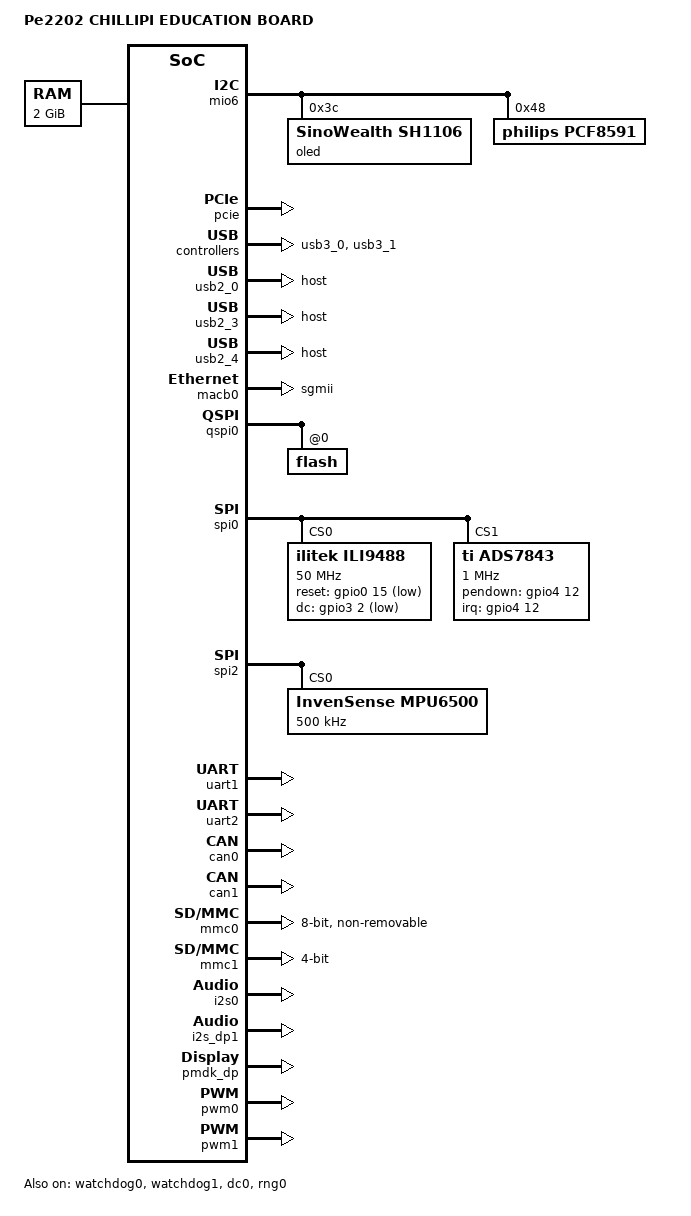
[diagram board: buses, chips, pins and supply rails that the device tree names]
// SPDX-License-Identifier: GPL-2.0
/*
 * DTS file for Phytium Pe2202 chillipi education board
 *
 * Copyright (c) 2022-2023 Phytium Technology Co., Ltd.
 *
 * This program is free software; you can redistribute it and/or
 * modify it under the terms of the GNU General Public License as
 * published by the Free Software Foundation; either version 2 of
 * the License, or (at your option) any later version.
 */

/dts-v1/;
/memreserve/ 0x80000000 0x10000;

#include "pe2202.dtsi"
#include "dt-bindings/gpio/gpio.h"


/{
	model = "Pe2202 CHILLIPI EDUCATION BOARD";
	compatible = "phytium,pe2202";

	chosen {
		stdout-path = "serial1:115200n8";
	};

	memory@00{
		device_type = "memory";
		reg = <0x0 0x80000000 0x0 0x80000000>;
	};

	sound_card: sound {
		compatible = "simple-audio-card";
		simple-audio-card,format = "i2s";
		simple-audio-card,name = "phytium,pe220x-i2s-audio";
		simple-audio-card,pin-switches = "mic-in";
		simple-audio-card,widgets = "Microphone","mic-in";
		simple-audio-card,routing = "MIC2","mic-in";
		simple-audio-card,cpu {
			sound-dai = <&i2s0>;
		};
		simple-audio-card,codec{
			sound-dai = <&codec0>;
		};
	};
};

&soc {
	mio6: i2c@28020000 {
		compatible = "phytium,i2c";
		reg = <0x0 0x28020000 0x0 0x1000>;
		interrupts = <GIC_SPI 98 IRQ_TYPE_LEVEL_HIGH>;
		clocks = <&sysclk_50mhz>;
		#address-cells = <1>;
		#size-cells = <0>;
		status = "okay";

		oled@3c {
			compatible = "SinoWealth,sh1106";
			reg = <0x3c>;
		};

		pcf8591@48 {
			compatible = "philips,pcf8591";
			reg = <0x48>;
		};
	};
	
	mio9: i2c@28026000 {
		compatible = "phytium,i2c";
		reg = <0x0 0x28026000 0x0 0x1000>;
		interrupts = <GIC_SPI 101 IRQ_TYPE_LEVEL_HIGH>;
		clocks = <&sysclk_50mhz>;
		#address-cells = <1>;
		#size-cells = <0>;
		status = "disabled";

		/* localized chillipi education board use this rtc device */
		rtc@32 {
			compatible = "wave,sd3068";
			reg = <0x32>;
			status = "disabled";
		};

		rtc@68 {
			compatible = "dallas,ds1339";
			reg = <0x68>;
			status = "disabled";
		};
	};

	mio14: i2c@28030000 {
		compatible = "phytium,i2c";
		reg = <0x0 0x28030000 0x0 0x1000>;
		interrupts = <GIC_SPI 106 IRQ_TYPE_LEVEL_HIGH>;
		clocks = <&sysclk_50mhz>;
		#address-cells = <1>;
		#size-cells = <0>;
		status = "disabled";

		codec0: es8336@10 {
			det-gpios = <&gpio2 5  GPIO_ACTIVE_LOW>;
			sel-gpios = <&gpio2 11 GPIO_ACTIVE_LOW>;
			#sound-dai-cells = <0>;
			compatible = "everest,es8336";
			reg = <0x10>;
			status = "disabled";
		};
	};
};

&gpio0 {
	status = "okay";
};

&gpio1 {
	status = "okay";
};

&gpio2 {
	status = "okay";
};

&gpio3 {
	status = "okay";
};

&gpio4 {
	interrupt-controller;
	#interrupt-cells = <2>;
	status = "okay";
};

&gpio5 {
	status = "okay";
};

&watchdog0 {
	status = "okay";
};

&watchdog1 {
	status = "okay";
};

&pcie {
	status = "okay";
};

&usb3_0 {
	status = "okay";
};

&usb3_1 {
	status = "okay";
};

&usb2_0 {
	dr_mode = "host";
	status = "okay";
};

&usb2_1 {
	dr_mode = "host";
	status = "disabled";
};

&usb2_2 {
	dr_mode = "host";
	status = "disabled";
};

&usb2_3 {
	dr_mode = "host";
	status = "okay";
};

&usb2_4 {
	dr_mode = "host";
	status = "okay";
};

&macb0 {
	phy-mode = "sgmii";
	use-mii;
	status = "okay";
};

/*
 * In chillipi education board, M.2 interface may insert two types of disks: PCIE (nvme protocol) or SATA (ahci protocol),
 * so here enable 'sata0' node by default to correspond to the sata drive case. Pin multiplexing exists
 * in PCIE2 and SATA0, when used as a boot disk, the BIOS can automatically recognize these two conditions.
 */
&sata0 {
	status = "disabled";
};

&sata1 {
	status = "disabled";
};

&qspi0 {
	status = "okay";

	flash@0 {
		status = "okay";
	};
};

&spi0 {
	global-cs = <1>;
	status = "okay";

	ILI9488@0 {
		compatible = "ilitek,ili9488";
		reg = <0>;
		spi-max-frequency = <50000000>;

		rotate = <0>;
		fps = <30>;
		buswidth = <8>;
		regwidth = <8>;
		bgr;
		reset-gpios = <&gpio0 15 GPIO_ACTIVE_LOW>;
		dc-gpios = <&gpio3 2 GPIO_ACTIVE_LOW>;
		//cs-gpios = <&gpio3 2 GPIO_ACTIVE_LOW>;

		//backlight = <&backlight>;
		debug = <0>;
	};

	ADS7843@1 {
		compatible = "ti,ads7843";
		spi-max-frequency = <1000000>;
		reg = <1>;
		//cs-gpios = <&gpio4 10 GPIO_ACTIVE_LOW>;
		interrupt-parent = <&gpio4>;
		interrupts = <12 0>;
		pendown-gpio = <&gpio4 12 0>;

		ti,x-min = /bits/ 16 <0>;
		//ti,x-max = /bits/ 16 <8000>;
		ti,x-max = /bits/ 16 <3200>;
		ti,y-min = /bits/ 16 <0>;
		//ti,y-max = /bits/ 16 <4800>;
		ti,y-max = /bits/ 16 <4800>;
		ti,x-plate-ohms = /bits/ 16 <40>;
		ti,pressure-max = /bits/ 16 <255>;

		wakeup-source;
	};
};

&spi2 {
	global-cs = <1>;
	status = "okay";

	mpu6500@0 {
		compatible = "InvenSense,mpu6500";
		spi-max-frequency = <500000>;
		reg = <0>;
		spi-cpol;
		spi-cpha;
	};
};

&uart1 {
	status = "okay";
};

&uart2 {
	status = "okay";
};

&can0 {
	status = "okay";
};

&can1 {
	status = "okay";
};

&mmc0 {
	bus-width = <0x00000008>;
	max-frequency = <100000000>;
	cap-mmc-hw-reset;
	cap-mmc-highspeed;
	mmc-hs200-1_8v;
	no-sdio;
	no-sd;
	non-removable;
	status = "okay";
};

&mmc1 {
	bus-width = <0x00000004>;
	max-frequency = <50000000>;
	cap-sdio-irq;
	cap-sd-highspeed;
	no-sdio;
	no-mmc;
	status = "okay";
};

&i2s0 {
	#sound-dai-cells = <0>;
	status = "okay";
};

&dc0 {
	pipe_mask = /bits/ 8 <0x2>;
	edp_mask = /bits/ 8 <0x0>;
	status = "okay";
};

&i2s_dp1 {
	status = "okay";
};

&pmdk_dp {
	num-dp = <1>;
	dp-mask = /bits/ 8 <0x2>;
	status = "okay";
};

&rng0 {
	status = "okay";
};

&pwm0 {
	phytium,db = <0 0 0 1000 1000 0>;
	status = "okay";
};

&pwm1 {
	phytium,db = <0 0 0 1000 1000 0>;
	status = "okay";
};
